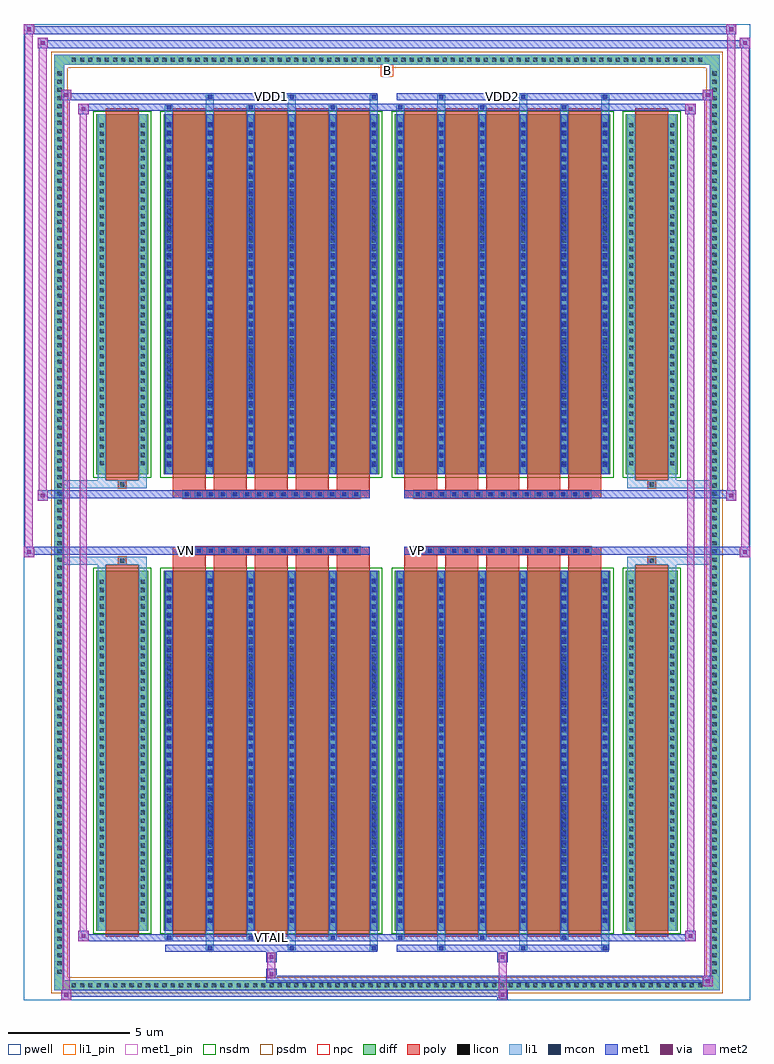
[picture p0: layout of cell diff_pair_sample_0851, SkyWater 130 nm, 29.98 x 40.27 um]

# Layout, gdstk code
import gdstk
lib = gdstk.Library(unit=1e-6, precision=5e-09)
def R(c, l, rs):  # rectangles x0, y0, x1, y1
    for r in rs: c.add(gdstk.rectangle(r[:2], r[2:], *l))
def A(c, l, x, y, w, h, nx, ny, dx, dy):  # array of equal rectangles
    R(c, l, [(x+i*dx, y+j*dy, x+i*dx+w, y+j*dy+h) for i in range(nx) for j in range(ny)])
def P(c, l, *ps):  # polygons
    for p in ps: c.add(gdstk.Polygon(p, *l))
pwell = (64, 44)
diff = (65, 20)
poly = (66, 20)
licon = (66, 44)
li1_pin = (67, 16)
li1 = (67, 20)
mcon = (67, 44)
met1_pin = (68, 16)
met1 = (68, 20)
via = (68, 44)
met2 = (69, 20)
nsdm = (93, 44)
psdm = (94, 20)
npc = (95, 20)

diff_pair_sample_0851 = lib.new_cell('diff_pair_sample_0851')
R(diff_pair_sample_0851, pwell, [(-14.99,-19.7,14.99,20.57), (-12.31,-17.89,-0.01,-0.805), (0.01,-17.89,12.31,-0.805), (-12.31,0.805,-0.01,17.89), (0.01,0.805,12.31,17.89)])
A(diff_pair_sample_0851, diff, -13.125, -19.3, 0.41, 0.41, 77, 2, 0.34, 38.19)
A(diff_pair_sample_0851, diff, -13.72, -18.735, 0.41, 0.41, 1, 110, 0, 0.34)
A(diff_pair_sample_0851, diff, 13.31, -18.735, 0.41, 0.41, 1, 110, 0, 0.34)
R(diff_pair_sample_0851, diff, [(-13.125,-19.3,13.125,-18.89), (-13.72,-18.735,-13.31,18.735), (13.31,-18.735,13.72,18.735), (-12,-16.845,-9.86,-1.985), (-9.22,-16.845,-0.32,-1.985), (0.32,-16.845,9.22,-1.985), (9.86,-16.845,12,-1.985), (-12,1.985,-9.86,16.845), (-9.22,1.985,-0.32,16.845), (0.32,1.985,9.22,16.845), (9.86,1.985,12,16.845), (-13.125,18.89,13.125,19.3)])
P(diff_pair_sample_0851, diff, [(13.72,19.3),(-13.72,19.3),(-13.72,-18.89),(-13.31,-18.89),(-13.31,18.89),(13.31,18.89),(13.31,-18.89),(-13.31,-18.89),(-13.72,-18.89),(-13.72,-19.3),(13.72,-19.3)])
A(diff_pair_sample_0851, poly, -8.83, -17.095, 1.36, 15.36, 5, 2, 1.69, 18.83)
A(diff_pair_sample_0851, poly, 0.71, -17.095, 1.36, 15.36, 5, 2, 1.69, 18.83)
A(diff_pair_sample_0851, poly, -8.83, -1.735, 1.36, 0.4, 5, 2, 1.69, 3.07)
A(diff_pair_sample_0851, poly, 0.71, -1.735, 1.36, 0.4, 5, 2, 1.69, 3.07)
A(diff_pair_sample_0851, poly, -8.435, -1.335, 0.33, 0.33, 15, 2, 0.5, 2.34)
A(diff_pair_sample_0851, poly, 1.105, -1.335, 0.33, 0.33, 15, 2, 0.5, 2.34)
R(diff_pair_sample_0851, poly, [(-11.61,-17.095,-10.25,-1.735), (10.25,-17.095,11.61,-1.735), (-11.095,-1.735,-10.765,-1.405), (-11.095,-1.735,-10.765,-1.405), (10.765,-1.735,11.095,-1.405), (10.765,-1.735,11.095,-1.405), (-8.83,-1.335,-0.71,-1.005), (0.71,-1.335,8.83,-1.005), (-8.83,1.005,-0.71,1.335), (0.71,1.005,8.83,1.335), (-11.095,1.405,-10.765,1.735), (-11.095,1.405,-10.765,1.735), (10.765,1.405,11.095,1.735), (10.765,1.405,11.095,1.735), (-11.61,1.735,-10.25,17.095), (10.25,1.735,11.61,17.095)])
A(diff_pair_sample_0851, licon, -13.005, -19.18, 0.17, 0.17, 77, 2, 0.34, 38.19)
A(diff_pair_sample_0851, licon, -13.6, -18.615, 0.17, 0.17, 1, 110, 0, 0.34)
A(diff_pair_sample_0851, licon, 13.43, -18.615, 0.17, 0.17, 1, 110, 0, 0.34)
A(diff_pair_sample_0851, licon, -11.86, -16.47, 0.17, 0.17, 1, 42, 0, 0.34)
A(diff_pair_sample_0851, licon, -10.17, -16.47, 0.17, 0.17, 1, 42, 0, 0.34)
A(diff_pair_sample_0851, licon, -9.08, -16.47, 0.17, 0.17, 6, 42, 1.69, 0.34)
A(diff_pair_sample_0851, licon, 0.46, -16.47, 0.17, 0.17, 6, 42, 1.69, 0.34)
A(diff_pair_sample_0851, licon, 10, -16.47, 0.17, 0.17, 1, 42, 0, 0.34)
A(diff_pair_sample_0851, licon, 11.69, -16.47, 0.17, 0.17, 1, 42, 0, 0.34)
A(diff_pair_sample_0851, licon, -8.355, -1.255, 0.17, 0.17, 15, 2, 0.5, 2.34)
A(diff_pair_sample_0851, licon, 1.185, -1.255, 0.17, 0.17, 15, 2, 0.5, 2.34)
A(diff_pair_sample_0851, licon, -11.86, 2.36, 0.17, 0.17, 1, 42, 0, 0.34)
A(diff_pair_sample_0851, licon, -10.17, 2.36, 0.17, 0.17, 1, 42, 0, 0.34)
A(diff_pair_sample_0851, licon, -9.08, 2.36, 0.17, 0.17, 6, 42, 1.69, 0.34)
A(diff_pair_sample_0851, licon, 0.46, 2.36, 0.17, 0.17, 6, 42, 1.69, 0.34)
A(diff_pair_sample_0851, licon, 10, 2.36, 0.17, 0.17, 1, 42, 0, 0.34)
A(diff_pair_sample_0851, licon, 11.69, 2.36, 0.17, 0.17, 1, 42, 0, 0.34)
R(diff_pair_sample_0851, licon, [(-11.015,-1.655,-10.845,-1.485), (10.845,-1.655,11.015,-1.485), (-11.015,1.485,-10.845,1.655), (10.845,1.485,11.015,1.655)])
R(diff_pair_sample_0851, li1_pin, [(-0.25,18.39,0.25,18.89)])
A(diff_pair_sample_0851, li1, -13.085, -19.26, 0.33, 0.33, 77, 2, 0.34, 38.19)
A(diff_pair_sample_0851, li1, -13.68, -18.695, 0.33, 0.33, 1, 110, 0, 0.34)
A(diff_pair_sample_0851, li1, 13.35, -18.695, 0.33, 0.33, 1, 110, 0, 0.34)
A(diff_pair_sample_0851, li1, -7.47, -17.65, 0.33, 0.805, 3, 2, 3.38, 34.495)
A(diff_pair_sample_0851, li1, -7.39, -17.65, 0.17, 0.17, 3, 2, 3.38, 35.13)
A(diff_pair_sample_0851, li1, 2.07, -17.65, 0.33, 0.805, 3, 2, 3.38, 34.495)
A(diff_pair_sample_0851, li1, 2.15, -17.65, 0.17, 0.17, 3, 2, 3.38, 35.13)
A(diff_pair_sample_0851, li1, -9.16, -17.22, 0.33, 0.375, 3, 2, 3.38, 34.065)
A(diff_pair_sample_0851, li1, -9.08, -17.22, 0.17, 0.17, 3, 2, 3.38, 34.27)
A(diff_pair_sample_0851, li1, 0.38, -17.22, 0.33, 0.375, 3, 2, 3.38, 34.065)
A(diff_pair_sample_0851, li1, 0.46, -17.22, 0.17, 0.17, 3, 2, 3.38, 34.27)
A(diff_pair_sample_0851, li1, -9.16, -16.845, 0.33, 14.86, 6, 2, 1.69, 18.83)
A(diff_pair_sample_0851, li1, 0.38, -16.845, 0.33, 14.86, 6, 2, 1.69, 18.83)
A(diff_pair_sample_0851, li1, -11.94, -16.55, 0.33, 0.33, 1, 42, 0, 0.34)
A(diff_pair_sample_0851, li1, -10.25, -16.55, 0.33, 0.33, 1, 42, 0, 0.34)
A(diff_pair_sample_0851, li1, -9.16, -16.55, 0.33, 0.33, 6, 42, 1.69, 0.34)
A(diff_pair_sample_0851, li1, 0.38, -16.55, 0.33, 0.33, 6, 42, 1.69, 0.34)
A(diff_pair_sample_0851, li1, 9.92, -16.55, 0.33, 0.33, 1, 42, 0, 0.34)
A(diff_pair_sample_0851, li1, 11.61, -16.55, 0.33, 0.33, 1, 42, 0, 0.34)
A(diff_pair_sample_0851, li1, -9.08, -16.52, 0.17, 0.17, 6, 40, 1.69, 0.36)
A(diff_pair_sample_0851, li1, -9.08, -16.52, 0.17, 14.21, 6, 2, 1.69, 18.83)
A(diff_pair_sample_0851, li1, 0.46, -16.52, 0.17, 0.17, 6, 40, 1.69, 0.36)
A(diff_pair_sample_0851, li1, 0.46, -16.52, 0.17, 14.21, 6, 2, 1.69, 18.83)
A(diff_pair_sample_0851, li1, -8.435, -1.335, 0.33, 0.33, 15, 2, 0.5, 2.34)
A(diff_pair_sample_0851, li1, 1.105, -1.335, 0.33, 0.33, 15, 2, 0.5, 2.34)
A(diff_pair_sample_0851, li1, -11.94, 2.28, 0.33, 0.33, 1, 42, 0, 0.34)
A(diff_pair_sample_0851, li1, -10.25, 2.28, 0.33, 0.33, 1, 42, 0, 0.34)
A(diff_pair_sample_0851, li1, -9.16, 2.28, 0.33, 0.33, 6, 42, 1.69, 0.34)
A(diff_pair_sample_0851, li1, 0.38, 2.28, 0.33, 0.33, 6, 42, 1.69, 0.34)
A(diff_pair_sample_0851, li1, 9.92, 2.28, 0.33, 0.33, 1, 42, 0, 0.34)
A(diff_pair_sample_0851, li1, 11.61, 2.28, 0.33, 0.33, 1, 42, 0, 0.34)
A(diff_pair_sample_0851, li1, -9.08, 2.31, 0.17, 0.17, 6, 40, 1.69, 0.36)
A(diff_pair_sample_0851, li1, 0.46, 2.31, 0.17, 0.17, 6, 40, 1.69, 0.36)
R(diff_pair_sample_0851, li1, [(-13.72,-19.3,-13.31,-18.89), (-13.72,-19.3,-13.31,-18.89), (-13.31,-19.3,13.31,-18.89), (13.31,-19.3,13.72,-18.89), (13.31,-19.3,13.72,-18.89), (-13.72,-18.89,-13.31,18.89), (13.31,-18.89,13.72,18.89), (-11.94,-16.845,-11.61,-1.985), (-10.25,-16.845,-9.92,-1.985), (9.92,-16.845,10.25,-1.985), (11.61,-16.845,11.94,-1.985), (-11.94,-1.985,-11.61,-1.405), (-10.25,-1.985,-9.92,-1.405), (9.92,-1.985,10.25,-1.405), (11.61,-1.985,11.94,-1.405), (-13.72,-1.735,-11.095,-1.405), (-11.94,-1.735,-11.095,-1.405), (-11.095,-1.735,-10.765,-1.405), (-10.765,-1.735,-9.92,-1.405), (9.92,-1.735,10.765,-1.405), (10.765,-1.735,11.095,-1.405), (10.765,-1.735,13.72,-1.405), (11.095,-1.735,11.94,-1.405), (-13.72,1.405,-11.095,1.735), (-11.94,1.405,-11.095,1.735), (-11.94,1.405,-11.61,1.985), (-11.095,1.405,-10.765,1.735), (-10.765,1.405,-9.92,1.735), (-10.25,1.405,-9.92,1.985), (9.92,1.405,10.765,1.735), (9.92,1.405,10.25,1.985), (10.765,1.405,11.095,1.735), (10.765,1.405,13.72,1.735), (11.095,1.405,11.94,1.735), (11.61,1.405,11.94,1.985), (-11.94,1.985,-11.61,16.845), (-10.25,1.985,-9.92,16.845), (9.92,1.985,10.25,16.845), (11.61,1.985,11.94,16.845), (-13.72,18.89,-13.31,19.3), (-13.72,18.89,-13.31,19.3), (-13.31,18.89,13.31,19.3), (13.31,18.89,13.72,19.3), (13.31,18.89,13.72,19.3)])
A(diff_pair_sample_0851, mcon, -7.39, -17.65, 0.17, 0.17, 3, 2, 3.38, 35.13)
A(diff_pair_sample_0851, mcon, 2.15, -17.65, 0.17, 0.17, 3, 2, 3.38, 35.13)
A(diff_pair_sample_0851, mcon, -9.08, -17.22, 0.17, 0.17, 3, 2, 3.38, 34.27)
A(diff_pair_sample_0851, mcon, 0.46, -17.22, 0.17, 0.17, 3, 2, 3.38, 34.27)
A(diff_pair_sample_0851, mcon, -9.08, -16.52, 0.17, 0.17, 6, 40, 1.69, 0.36)
A(diff_pair_sample_0851, mcon, 0.46, -16.52, 0.17, 0.17, 6, 40, 1.69, 0.36)
A(diff_pair_sample_0851, mcon, -8.355, -1.255, 0.17, 0.17, 15, 2, 0.5, 2.34)
A(diff_pair_sample_0851, mcon, 1.185, -1.255, 0.17, 0.17, 15, 2, 0.5, 2.34)
A(diff_pair_sample_0851, mcon, -9.08, 2.31, 0.17, 0.17, 6, 40, 1.69, 0.36)
A(diff_pair_sample_0851, mcon, 0.46, 2.31, 0.17, 0.17, 6, 40, 1.69, 0.36)
R(diff_pair_sample_0851, met1_pin, [(-4.905,-17.26,-4.635,-16.99), (-8.405,-1.295,-8.135,-1.025), (1.135,-1.295,1.405,-1.025), (-4.905,17.44,-4.635,17.71), (4.635,17.44,4.905,17.71)])
A(diff_pair_sample_0851, met1, -7.45, -17.71, 0.29, 0.29, 3, 2, 3.38, 35.13)
A(diff_pair_sample_0851, met1, 2.09, -17.71, 0.29, 0.29, 3, 2, 3.38, 35.13)
A(diff_pair_sample_0851, met1, -9.14, -17.28, 0.29, 0.29, 3, 2, 3.38, 34.27)
A(diff_pair_sample_0851, met1, 0.4, -17.28, 0.29, 0.29, 3, 2, 3.38, 34.27)
A(diff_pair_sample_0851, met1, -9.14, -16.845, 0.29, 14.86, 6, 2, 1.69, 18.83)
A(diff_pair_sample_0851, met1, 0.4, -16.845, 0.29, 14.86, 6, 2, 1.69, 18.83)
A(diff_pair_sample_0851, met1, -9.14, -16.58, 0.29, 0.29, 6, 40, 1.69, 0.36)
A(diff_pair_sample_0851, met1, 0.4, -16.58, 0.29, 0.29, 6, 40, 1.69, 0.36)
A(diff_pair_sample_0851, met1, -8.415, -1.315, 0.29, 0.29, 15, 2, 0.5, 2.34)
A(diff_pair_sample_0851, met1, 1.125, -1.315, 0.29, 0.29, 15, 2, 0.5, 2.34)
A(diff_pair_sample_0851, met1, -9.14, 2.25, 0.29, 0.29, 6, 40, 1.69, 0.36)
A(diff_pair_sample_0851, met1, 0.4, 2.25, 0.29, 0.29, 6, 40, 1.69, 0.36)
R(diff_pair_sample_0851, met1, [(-13.45,-19.7,-13.02,-19.27), (4.555,-19.7,4.985,-19.27), (-13.45,-19.56,4.985,-19.27), (13.02,-19.13,13.45,-18.7), (-4.985,-18.99,13.45,-18.7), (-4.985,-18.85,-4.555,-18.42), (-4.985,-18.14,-4.555,-17.71), (4.555,-18.14,4.985,-17.71), (-9.14,-17.71,-0.4,-17.42), (0.4,-17.71,9.14,-17.42), (-12.74,-17.28,-12.31,-16.85), (-12.74,-17.28,-9.14,-16.99), (-9.14,-17.28,-0.4,-16.99), (-0.4,-17.28,0.4,-16.99), (0.4,-17.28,9.14,-16.99), (9.14,-17.28,12.74,-16.99), (12.31,-17.28,12.74,-16.85), (-14.99,-1.435,-14.56,-1.005), (14.56,-1.435,14.99,-1.005), (-14.99,-1.335,-0.71,-1.005), (-8.83,-1.335,-0.71,-1.005), (0.71,-1.335,8.83,-1.005), (0.71,-1.335,14.99,-1.005), (-14.42,0.905,-13.99,1.335), (13.99,0.905,14.42,1.335), (-14.42,1.005,-8.83,1.335), (-8.83,1.005,-0.71,1.335), (0.71,1.005,8.83,1.335), (8.83,1.005,14.42,1.335), (-12.74,16.85,-12.31,17.28), (12.31,16.85,12.74,17.28), (-12.74,16.99,-9.14,17.28), (-9.14,16.99,-0.4,17.28), (-0.4,16.99,0.4,17.28), (0.4,16.99,9.14,17.28), (9.14,16.99,12.74,17.28), (-13.45,17.42,-13.02,17.85), (-13.45,17.42,-9.14,17.71), (-9.14,17.42,-0.4,17.71), (0.4,17.42,9.14,17.71), (9.14,17.42,13.45,17.71), (13.02,17.42,13.45,17.85), (-14.42,19.57,-13.99,20), (-14.42,19.57,-12.31,19.9), (-12.31,19.57,12.31,19.9), (12.31,19.57,14.99,19.9), (14.56,19.57,14.99,20), (-14.99,20.14,-14.56,20.57), (-14.99,20.14,-12.31,20.47), (-12.31,20.14,12.31,20.47), (12.31,20.14,14.42,20.47), (13.99,20.14,14.42,20.57)])
R(diff_pair_sample_0851, via, [(-13.31,-19.56,-13.16,-19.41), (4.695,-19.56,4.845,-19.41), (13.16,-18.99,13.31,-18.84), (-4.845,-18.71,-4.695,-18.56), (-4.845,-18,-4.695,-17.85), (4.695,-18,4.845,-17.85), (-12.6,-17.14,-12.45,-16.99), (12.45,-17.14,12.6,-16.99), (-14.85,-1.295,-14.7,-1.145), (14.7,-1.295,14.85,-1.145), (-14.28,1.045,-14.13,1.195), (14.13,1.045,14.28,1.195), (-12.6,16.99,-12.45,17.14), (12.45,16.99,12.6,17.14), (-13.31,17.56,-13.16,17.71), (13.16,17.56,13.31,17.71), (-14.28,19.71,-14.13,19.86), (14.7,19.71,14.85,19.86), (-14.85,20.28,-14.7,20.43), (14.13,20.28,14.28,20.43)])
R(diff_pair_sample_0851, met2, [(-13.45,-19.7,-13.02,-19.27), (-13.38,-19.7,-13.09,17.85), (-13.09,-19.7,-13.02,-19.27), (-13.4,-19.65,-13.07,-19.32), (4.605,-19.65,4.935,-19.32), (4.605,-19.32,4.935,-18.09), (13.02,-19.13,13.45,-18.7), (13.09,-19.13,13.38,17.85), (13.38,-19.13,13.45,-18.7), (13.07,-19.08,13.4,-18.75), (-4.935,-18.8,-4.605,-18.47), (-4.935,-18.47,-4.605,-18.09), (-4.935,-18.09,-4.605,-17.76), (4.605,-18.09,4.935,-17.76), (-12.74,-17.28,-12.31,-16.85), (-12.67,-17.28,-12.38,17.28), (-12.38,-17.28,-12.31,-16.85), (12.31,-17.28,12.74,-16.85), (12.38,-17.28,12.67,17.28), (12.67,-17.28,12.74,-16.85), (-12.69,-17.23,-12.36,-16.9), (12.36,-17.23,12.69,-16.9), (-14.99,-1.435,-14.56,-1.005), (-14.94,-1.435,-14.61,20.57), (-14.61,-1.435,-14.56,-1.005), (14.56,-1.435,14.99,-1.005), (14.61,-1.435,14.94,20), (14.94,-1.435,14.99,-1.005), (-14.94,-1.385,-14.61,-1.055), (14.61,-1.385,14.94,-1.055), (-14.42,0.905,-13.99,1.335), (-14.37,0.905,-14.04,20), (-14.04,0.905,-13.99,1.335), (13.99,0.905,14.42,1.335), (14.04,0.905,14.37,20.57), (14.37,0.905,14.42,1.335), (-14.37,0.955,-14.04,1.285), (14.04,0.955,14.37,1.285), (-12.74,16.85,-12.31,17.28), (-12.38,16.85,-12.31,17.28), (12.31,16.85,12.74,17.28), (12.67,16.85,12.74,17.28), (-12.69,16.9,-12.36,17.23), (12.36,16.9,12.69,17.23), (-13.45,17.42,-13.02,17.85), (-13.09,17.42,-13.02,17.85), (13.02,17.42,13.45,17.85), (13.38,17.42,13.45,17.85), (-13.4,17.47,-13.07,17.8), (13.07,17.47,13.4,17.8), (-14.42,19.57,-13.99,20), (-14.04,19.57,-13.99,20), (14.56,19.57,14.99,20), (14.94,19.57,14.99,20), (-14.37,19.62,-14.04,19.95), (14.61,19.62,14.94,19.95), (-14.99,20.14,-14.56,20.57), (-14.61,20.14,-14.56,20.57), (13.99,20.14,14.42,20.57), (14.37,20.14,14.42,20.57), (-14.94,20.19,-14.61,20.52), (14.04,20.19,14.37,20.52)])
R(diff_pair_sample_0851, nsdm, [(-12.13,-16.975,-9.73,-1.855), (-9.35,-16.975,-0.19,-1.855), (0.19,-16.975,9.35,-1.855), (9.73,-16.975,12.13,-1.855), (-12.13,1.855,-9.73,16.975), (-9.35,1.855,-0.19,16.975), (0.19,1.855,9.35,16.975), (9.73,1.855,12.13,16.975)])
P(diff_pair_sample_0851, psdm, [(13.85,19.43),(-13.85,19.43),(-13.85,-18.76),(-13.18,-18.76),(-13.18,18.76),(13.18,18.76),(13.18,-18.76),(-13.18,-18.76),(-13.85,-18.76),(-13.85,-19.43),(13.85,-19.43)])
A(diff_pair_sample_0851, npc, -8.455, -1.355, 0.37, 0.37, 15, 2, 0.5, 2.34)
A(diff_pair_sample_0851, npc, 1.085, -1.355, 0.37, 0.37, 15, 2, 0.5, 2.34)
R(diff_pair_sample_0851, npc, [(-11.115,-1.755,-10.745,-1.385), (10.745,-1.755,11.115,-1.385), (-8.455,-1.355,-7.585,-0.985), (-8.455,-1.355,-7.585,-0.985), (-7.955,-1.355,-7.085,-0.985), (-7.955,-1.355,-7.085,-0.985), (-7.455,-1.355,-6.585,-0.985), (-7.455,-1.355,-6.585,-0.985), (-6.955,-1.355,-6.085,-0.985), (-6.955,-1.355,-6.085,-0.985), (-6.455,-1.355,-5.585,-0.985), (-6.455,-1.355,-5.585,-0.985), (-5.955,-1.355,-5.085,-0.985), (-5.955,-1.355,-5.085,-0.985), (-5.455,-1.355,-4.585,-0.985), (-5.455,-1.355,-4.585,-0.985), (-4.955,-1.355,-4.085,-0.985), (-4.955,-1.355,-4.085,-0.985), (-4.455,-1.355,-3.585,-0.985), (-4.455,-1.355,-3.585,-0.985), (-3.955,-1.355,-3.085,-0.985), (-3.955,-1.355,-3.085,-0.985), (-3.455,-1.355,-2.585,-0.985), (-3.455,-1.355,-2.585,-0.985), (-2.955,-1.355,-2.085,-0.985), (-2.955,-1.355,-2.085,-0.985), (-2.455,-1.355,-1.585,-0.985), (-2.455,-1.355,-1.585,-0.985), (-1.955,-1.355,-1.085,-0.985), (-1.955,-1.355,-1.085,-0.985), (1.085,-1.355,1.955,-0.985), (1.085,-1.355,1.955,-0.985), (1.585,-1.355,2.455,-0.985), (1.585,-1.355,2.455,-0.985), (2.085,-1.355,2.955,-0.985), (2.085,-1.355,2.955,-0.985), (2.585,-1.355,3.455,-0.985), (2.585,-1.355,3.455,-0.985), (3.085,-1.355,3.955,-0.985), (3.085,-1.355,3.955,-0.985), (3.585,-1.355,4.455,-0.985), (3.585,-1.355,4.455,-0.985), (4.085,-1.355,4.955,-0.985), (4.085,-1.355,4.955,-0.985), (4.585,-1.355,5.455,-0.985), (4.585,-1.355,5.455,-0.985), (5.085,-1.355,5.955,-0.985), (5.085,-1.355,5.955,-0.985), (5.585,-1.355,6.455,-0.985), (5.585,-1.355,6.455,-0.985), (6.085,-1.355,6.955,-0.985), (6.085,-1.355,6.955,-0.985), (6.585,-1.355,7.455,-0.985), (6.585,-1.355,7.455,-0.985), (7.085,-1.355,7.955,-0.985), (7.085,-1.355,7.955,-0.985), (7.585,-1.355,8.455,-0.985), (7.585,-1.355,8.455,-0.985), (-8.455,0.985,-7.585,1.355), (-8.455,0.985,-7.585,1.355), (-7.955,0.985,-7.085,1.355), (-7.955,0.985,-7.085,1.355), (-7.455,0.985,-6.585,1.355), (-7.455,0.985,-6.585,1.355), (-6.955,0.985,-6.085,1.355), (-6.955,0.985,-6.085,1.355), (-6.455,0.985,-5.585,1.355), (-6.455,0.985,-5.585,1.355), (-5.955,0.985,-5.085,1.355), (-5.955,0.985,-5.085,1.355), (-5.455,0.985,-4.585,1.355), (-5.455,0.985,-4.585,1.355), (-4.955,0.985,-4.085,1.355), (-4.955,0.985,-4.085,1.355), (-4.455,0.985,-3.585,1.355), (-4.455,0.985,-3.585,1.355), (-3.955,0.985,-3.085,1.355), (-3.955,0.985,-3.085,1.355), (-3.455,0.985,-2.585,1.355), (-3.455,0.985,-2.585,1.355), (-2.955,0.985,-2.085,1.355), (-2.955,0.985,-2.085,1.355), (-2.455,0.985,-1.585,1.355), (-2.455,0.985,-1.585,1.355), (-1.955,0.985,-1.085,1.355), (-1.955,0.985,-1.085,1.355), (1.085,0.985,1.955,1.355), (1.085,0.985,1.955,1.355), (1.585,0.985,2.455,1.355), (1.585,0.985,2.455,1.355), (2.085,0.985,2.955,1.355), (2.085,0.985,2.955,1.355), (2.585,0.985,3.455,1.355), (2.585,0.985,3.455,1.355), (3.085,0.985,3.955,1.355), (3.085,0.985,3.955,1.355), (3.585,0.985,4.455,1.355), (3.585,0.985,4.455,1.355), (4.085,0.985,4.955,1.355), (4.085,0.985,4.955,1.355), (4.585,0.985,5.455,1.355), (4.585,0.985,5.455,1.355), (5.085,0.985,5.955,1.355), (5.085,0.985,5.955,1.355), (5.585,0.985,6.455,1.355), (5.585,0.985,6.455,1.355), (6.085,0.985,6.955,1.355), (6.085,0.985,6.955,1.355), (6.585,0.985,7.455,1.355), (6.585,0.985,7.455,1.355), (7.085,0.985,7.955,1.355), (7.085,0.985,7.955,1.355), (7.585,0.985,8.455,1.355), (7.585,0.985,8.455,1.355), (-11.115,1.385,-10.745,1.755), (10.745,1.385,11.115,1.755)])
diff_pair_sample_0851.add(gdstk.Label('VTAIL', (-4.77,-17.125), layer=68, texttype=5))
diff_pair_sample_0851.add(gdstk.Label('VN', (-8.27,-1.16), layer=68, texttype=5))
diff_pair_sample_0851.add(gdstk.Label('VP', (1.27,-1.16), layer=68, texttype=5))
diff_pair_sample_0851.add(gdstk.Label('B', (0,18.64), layer=67, texttype=5))
diff_pair_sample_0851.add(gdstk.Label('VDD2', (4.77,17.575), layer=68, texttype=5))
diff_pair_sample_0851.add(gdstk.Label('VDD1', (-4.77,17.575), layer=68, texttype=5))

lib.write_gds('diff_pair_sample_0851.gds')
